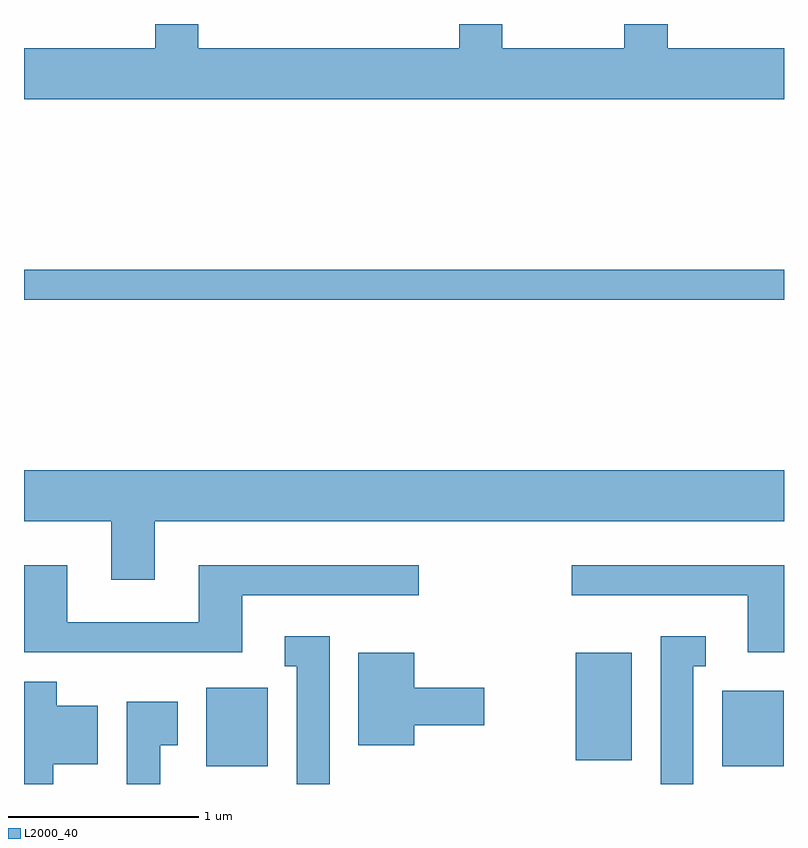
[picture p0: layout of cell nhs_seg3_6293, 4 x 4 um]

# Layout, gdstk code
import gdstk
lib = gdstk.Library(unit=1e-6, precision=1e-09)
def R(c, l, rs):  # rectangles x0, y0, x1, y1
    for r in rs: c.add(gdstk.rectangle(r[:2], r[2:], *l))
def P(c, l, *ps):  # polygons
    for p in ps: c.add(gdstk.Polygon(p, *l))
L2000_40 = (2000, 40)

nhs_seg3_6293 = lib.new_cell('nhs_seg3_6293')
R(nhs_seg3_6293, L2000_40, [(370.571,1197.986,370.894,1198.399), (373.286,1197.986,373.609,1198.384), (372.516,1198.016,372.809,1198.584), (369.611,1200.441,373.611,1200.599)])
P(nhs_seg3_6293, L2000_40, [(373.611,1201.764),(372.999,1201.764),(372.999,1201.892),(372.771,1201.892),(372.771,1201.764),(372.129,1201.764),(372.129,1201.892),(371.901,1201.892),(371.901,1201.764),(370.529,1201.764),(370.529,1201.892),(370.301,1201.892),(370.301,1201.764),(369.611,1201.764),(369.611,1201.496),(373.611,1201.496)],
  [(370.299,1199.276),(373.611,1199.276),(373.611,1199.544),(369.611,1199.544),(369.611,1199.276),(370.071,1199.276),(370.071,1198.966),(370.299,1198.966)],
  [(370.759,1198.886),(371.688,1198.886),(371.688,1199.044),(370.531,1199.044),(370.531,1198.744),(369.839,1198.744),(369.839,1199.044),(369.611,1199.044),(369.611,1198.586),(370.759,1198.586)],
  [(373.611,1199.044),(372.493,1199.044),(372.493,1198.886),(373.421,1198.886),(373.421,1198.586),(373.611,1198.586)],
  [(371.219,1198.669),(370.983,1198.669),(370.983,1198.511),(371.046,1198.511),(371.046,1197.892),(371.219,1197.892)],
  [(373.134,1198.511),(373.198,1198.511),(373.198,1198.669),(372.961,1198.669),(372.961,1197.892),(373.134,1197.892)],
  [(371.664,1198.201),(372.034,1198.201),(372.034,1198.399),(371.664,1198.399),(371.664,1198.584),(371.371,1198.584),(371.371,1198.096),(371.664,1198.096)],
  [(369.764,1197.996),(369.999,1197.996),(369.999,1198.304),(369.784,1198.304),(369.784,1198.429),(369.611,1198.429),(369.611,1197.892),(369.764,1197.892)],
  [(370.329,1198.096),(370.419,1198.096),(370.419,1198.324),(370.151,1198.324),(370.151,1197.892),(370.329,1197.892)])

lib.write_gds('nhs_seg3_6293.gds')
